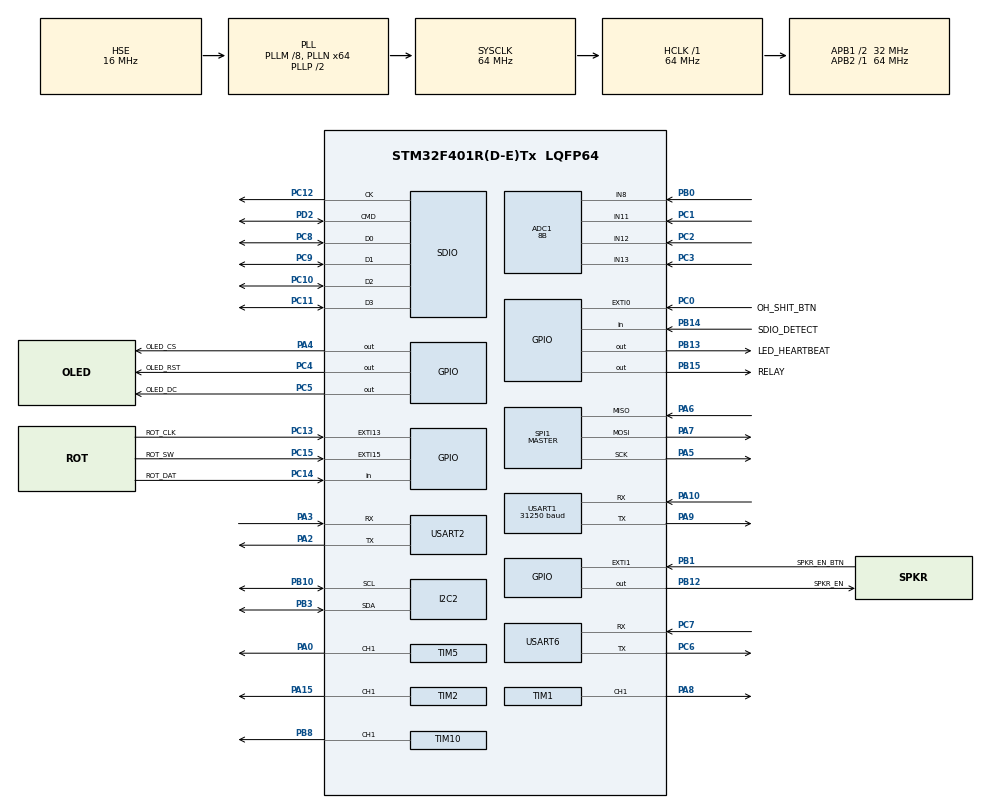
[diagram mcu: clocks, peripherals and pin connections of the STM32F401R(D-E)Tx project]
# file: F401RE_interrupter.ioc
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ADC1.Channel-1\#ChannelRegularConversion=ADC_CHANNEL_8
ADC1.Channel-2\#ChannelRegularConversion=ADC_CHANNEL_11
ADC1.Channel-3\#ChannelRegularConversion=ADC_CHANNEL_12
ADC1.Channel-4\#ChannelRegularConversion=ADC_CHANNEL_13
ADC1.EOCSelection=ADC_EOC_SEQ_CONV
ADC1.NbrOfConversion=4
ADC1.NbrOfConversionFlag=1
ADC1.Rank-1\#ChannelRegularConversion=1
ADC1.Rank-2\#ChannelRegularConversion=2
ADC1.Rank-3\#ChannelRegularConversion=3
ADC1.Rank-4\#ChannelRegularConversion=4
ADC1.Resolution=ADC_RESOLUTION_8B
ADC1.SamplingTime-1\#ChannelRegularConversion=ADC_SAMPLETIME_15CYCLES
ADC1.SamplingTime-2\#ChannelRegularConversion=ADC_SAMPLETIME_15CYCLES
ADC1.SamplingTime-3\#ChannelRegularConversion=ADC_SAMPLETIME_15CYCLES
ADC1.SamplingTime-4\#ChannelRegularConversion=ADC_SAMPLETIME_15CYCLES
ADC1.master=1
Dma.ADC1.0.Direction=DMA_PERIPH_TO_MEMORY
Dma.ADC1.0.FIFOMode=DMA_FIFOMODE_DISABLE
Dma.ADC1.0.Instance=DMA2_Stream0
Dma.ADC1.0.MemDataAlignment=DMA_MDATAALIGN_HALFWORD
Dma.ADC1.0.MemInc=DMA_MINC_ENABLE
Dma.ADC1.0.Mode=DMA_NORMAL
Dma.ADC1.0.PeriphDataAlignment=DMA_PDATAALIGN_HALFWORD
Dma.ADC1.0.PeriphInc=DMA_PINC_DISABLE
Dma.ADC1.0.Priority=DMA_PRIORITY_MEDIUM
Dma.Request0=ADC1
FATFS.BSP.number=1
FATFS0.BSP.STBoard=false
FATFS0.BSP.api=Unknown
FATFS0.BSP.instance=PB14
FATFS0.BSP.ip=GPIO
FATFS0.BSP.mode=Input
FATFS0.BSP.name=Detect_SDIO
FATFS0.BSP.solution=PB14
Mcu.Family=STM32F4
Mcu.Name=STM32F401R(D-E)Tx
Mcu.Package=LQFP64
NVIC.DMA2_Stream0_IRQn=true\:0\:0\:false\:false\:true\:false\:true\:true
NVIC.EXTI0_IRQn=true\:0\:0\:false\:false\:true\:true\:true\:true
NVIC.EXTI15_10_IRQn=true\:0\:0\:false\:false\:true\:true\:true\:true
NVIC.EXTI1_IRQn=true\:0\:0\:false\:false\:true\:true\:true\:true
NVIC.PriorityGroup=NVIC_PRIORITYGROUP_4
NVIC.TIM1_TRG_COM_TIM11_IRQn=true\:0\:0\:false\:false\:true\:true\:true\:true
NVIC.USART1_IRQn=true\:0\:0\:false\:false\:true\:true\:true\:true
PA0-WKUP.Signal=S_TIM5_CH1
PA10.GPIO_PuPd=GPIO_NOPULL
PA10.Mode=Asynchronous
PA10.Signal=USART1_RX
PA13.Mode=Serial_Wire
PA13.Signal=SYS_JTMS-SWDIO
PA14.Mode=Serial_Wire
PA14.Signal=SYS_JTCK-SWCLK
PA15.Signal=S_TIM2_CH1_ETR
PA2.Mode=Asynchronous
PA2.Signal=USART2_TX
PA3.Mode=Asynchronous
PA3.Signal=USART2_RX
PA4.GPIO_Label=OLED_CS
PA4.GPIO_PuPd=GPIO_PULLUP
PA4.Signal=GPIO_Output
PA5.Mode=Full_Duplex_Master
PA5.Signal=SPI1_SCK
PA6.Mode=Full_Duplex_Master
PA6.Signal=SPI1_MISO
PA7.Mode=Full_Duplex_Master
PA7.Signal=SPI1_MOSI
PA8.Signal=S_TIM1_CH1
PA9.Mode=Asynchronous
PA9.Signal=USART1_TX
PB0.Signal=ADCx_IN8
PB1.GPIO_Label=SPKR_EN_BTN
PB1.GPIO_ModeDefaultEXTI=GPIO_MODE_IT_FALLING
PB1.Signal=GPXTI1
PB10.Mode=I2C
PB10.Signal=I2C2_SCL
PB12.GPIO_Label=SPKR_EN
PB12.Signal=GPIO_Output
PB13.GPIO_Label=LED_HEARTBEAT
PB13.Signal=GPIO_Output
PB14.GPIO_Label=SDIO_DETECT
PB14.Signal=GPIO_Input
PB15.GPIO_Label=RELAY
PB15.Signal=GPIO_Output
PB3.Mode=I2C
PB3.Signal=I2C2_SDA
PB8.Signal=S_TIM10_CH1
PC0.GPIO_Label=OH_SHIT_BTN
PC0.GPIO_ModeDefaultEXTI=GPIO_MODE_IT_FALLING
PC0.Signal=GPXTI0
PC1.Signal=ADCx_IN11
PC10.Mode=SD_4_bits_Wide_bus
PC10.Signal=SDIO_D2
PC11.Mode=SD_4_bits_Wide_bus
PC11.Signal=SDIO_D3
PC12.Mode=SD_4_bits_Wide_bus
PC12.Signal=SDIO_CK
PC13-ANTI_TAMP.GPIO_Label=ROT_CLK
PC13-ANTI_TAMP.GPIO_ModeDefaultEXTI=GPIO_MODE_IT_FALLING
PC13-ANTI_TAMP.Signal=GPXTI13
PC14-OSC32_IN.GPIO_Label=ROT_DAT
PC14-OSC32_IN.Signal=GPIO_Input
PC15-OSC32_OUT.GPIO_Label=ROT_SW
PC15-OSC32_OUT.GPIO_ModeDefaultEXTI=GPIO_MODE_IT_FALLING
PC15-OSC32_OUT.Signal=GPXTI15
PC2.Signal=ADCx_IN12
PC3.Signal=ADCx_IN13
PC4.GPIO_Label=OLED_RST
PC4.Signal=GPIO_Output
PC5.GPIO_Label=OLED_DC
PC5.Signal=GPIO_Output
PC6.Mode=Asynchronous
PC6.Signal=USART6_TX
PC7.Mode=Asynchronous
PC7.Signal=USART6_RX
PC8.Mode=SD_4_bits_Wide_bus
PC8.Signal=SDIO_D0
PC9.Mode=SD_4_bits_Wide_bus
PC9.Signal=SDIO_D1
PD2.Mode=SD_4_bits_Wide_bus
PD2.Signal=SDIO_CMD
PH0\ -\ OSC_IN.Mode=HSE-External-Oscillator
PH0\ -\ OSC_IN.Signal=RCC_OSC_IN
PH1\ -\ OSC_OUT.Mode=HSE-External-Oscillator
PH1\ -\ OSC_OUT.Signal=RCC_OSC_OUT
ProjectManager.HeapSize=0x200
ProjectManager.StackSize=0x400
ProjectManager.TargetToolchain=STM32CubeIDE
RCC.48MHZClocksFreq_Value=42666666.666666664
RCC.AHBFreq_Value=64000000
RCC.APB1CLKDivider=RCC_HCLK_DIV2
RCC.APB1Freq_Value=32000000
RCC.APB1TimFreq_Value=64000000
RCC.APB2Freq_Value=64000000
RCC.APB2TimFreq_Value=64000000
RCC.CortexFreq_Value=64000000
RCC.HCLKFreq_Value=64000000
RCC.HSE_VALUE=16000000
RCC.HSI_VALUE=16000000
RCC.LSE_VALUE=32768
RCC.PLLM=8
RCC.PLLN=64
RCC.PLLQ=3
RCC.PLLSourceVirtual=RCC_PLLSOURCE_HSE
RCC.SYSCLKFreq_VALUE=64000000
RCC.SYSCLKSource=RCC_SYSCLKSOURCE_PLLCLK
RCC.VCOOutputFreq_Value=128000000
SH.ADCx_IN11.0=ADC1_IN11,IN11
SH.ADCx_IN12.0=ADC1_IN12,IN12
SH.ADCx_IN13.0=ADC1_IN13,IN13
SH.ADCx_IN8.0=ADC1_IN8,IN8
SH.S_TIM10_CH1.0=TIM10_CH1,PWM Generation1 CH1
SH.S_TIM1_CH1.0=TIM1_CH1,PWM Generation1 CH1
SH.S_TIM2_CH1_ETR.0=TIM2_CH1,PWM Generation1 CH1
SH.S_TIM5_CH1.0=TIM5_CH1,PWM Generation1 CH1
SPI1.Direction=SPI_DIRECTION_2LINES
SPI1.Mode=SPI_MODE_MASTER
SPI1.VirtualType=VM_MASTER
TIM1.AutoReloadPreload=TIM_AUTORELOAD_PRELOAD_ENABLE
TIM1.Channel-PWM\ Generation1\ CH1=TIM_CHANNEL_1
TIM1.Period=100
TIM1.Prescaler=128-1
TIM1.Pulse-PWM\ Generation1\ CH1=0
TIM10.Channel=TIM_CHANNEL_1
TIM10.Period=0
TIM11.AutoReloadPreload=TIM_AUTORELOAD_PRELOAD_ENABLE
TIM11.Channel=TIM_CHANNEL_1
TIM11.Period=1000-1
TIM11.Prescaler=64-1
TIM2.Channel-PWM\ Generation1\ CH1=TIM_CHANNEL_1
TIM2.Period=12
TIM2.Prescaler=64-1
TIM5.Channel-PWM\ Generation1\ CH1=TIM_CHANNEL_1
TIM5.Period=0
TIM9.Channel-Output\ Compare1\ No\ Output=TIM_CHANNEL_1
TIM9.Period=1000-1
TIM9.Prescaler=64000-1
USART1.BaudRate=31250
USART1.VirtualMode=VM_ASYNC
USART2.VirtualMode=VM_ASYNC
USART6.VirtualMode=VM_ASYNC
VP_ADC1_Vbat_Input.Mode=IN-Vbat
VP_FATFS_VS_SDIO.Mode=SDIO
VP_TIM10_VS_ClockSourceINT.Mode=Enable_Timer
VP_TIM11_VS_ClockSourceINT.Mode=Enable_Timer
VP_TIM11_VS_no_output1.Mode=Output Compare1 No Output
VP_TIM1_VS_ClockSourceINT.Mode=Internal
VP_TIM2_VS_ClockSourceINT.Mode=Internal
VP_TIM9_VS_ClockSourceINT.Mode=Internal
VP_TIM9_VS_OPM.Mode=OPM_bit
VP_TIM9_VS_no_output1.Mode=Output Compare1 No Output
board=custom

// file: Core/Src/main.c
/* USER CODE BEGIN Header */
/**
  ******************************************************************************
  * @file           : main.c
  * @brief          : Main program body
  ******************************************************************************
  * @attention
  *
  * Copyright (c) 2024 STMicroelectronics.
  * All rights reserved.
  *
  * This software is licensed under terms that can be found in the LICENSE file
  * in the root directory of this software component.
  * If no LICENSE file comes with this software, it is provided AS-IS.
  *
  ******************************************************************************
  */
/* USER CODE END Header */
#include "main.h"
#include "fatfs.h"

/* USER CODE BEGIN Includes */
#include "I2C_LCD.h"
#include "midi_keyboard_handler.h"
#include "stdio.h"
#include "timers.h"
#include "midi.h"

/* USER CODE END Includes */

ADC_HandleTypeDef hadc1;
DMA_HandleTypeDef hdma_adc1;

I2C_HandleTypeDef hi2c2;

SD_HandleTypeDef hsd;

SPI_HandleTypeDef hspi1;

TIM_HandleTypeDef htim1;
TIM_HandleTypeDef htim2;
TIM_HandleTypeDef htim5;
TIM_HandleTypeDef htim9;
TIM_HandleTypeDef htim10;
TIM_HandleTypeDef htim11;

UART_HandleTypeDef huart1;
UART_HandleTypeDef huart2;
UART_HandleTypeDef huart6;

/* USER CODE BEGIN PV */
FATFS     fs;
FIL       file;
FRESULT   fresult;
FILINFO   fno;
DIR       dir;
LCD       lcd;

uint16_t tx1_pulse_width = 1, prev_tx1_width = 0;
uint16_t tx2_pulse_width = 1, prev_tx2_width = 0;

volatile uint16_t adc_dma_results[4];
const int         adcChannelCount = sizeof(adc_dma_results) / sizeof(adc_dma_results[0]);
volatile uint8_t  adc_conv_complete = 0; //set by callback

/* USER CODE END PV */

void SystemClock_Config(void);
static void MX_GPIO_Init(void);
static void MX_DMA_Init(void);
static void MX_ADC1_Init(void);
static void MX_I2C2_Init(void);
static void MX_SDIO_SD_Init(void);
static void MX_TIM1_Init(void);
static void MX_TIM2_Init(void);
static void MX_USART1_UART_Init(void);
static void MX_USART2_UART_Init(void);
static void MX_USART6_UART_Init(void);
static void MX_SPI1_Init(void);
static void MX_TIM11_Init(void);
static void MX_TIM9_Init(void);
static void MX_TIM5_Init(void);
static void MX_TIM10_Init(void);

/* USER CODE BEGIN 0 */
// void toggle_speaker_en_pin(){
//   HAL_GPIO_TogglePin(SPKR_EN_GPIO_Port, SPKR_EN_Pin);
// }

/* USER CODE END 0 */

int main(void)
{

  /* MCU Configuration--------------------------------------------------------*/

  /* Reset of all peripherals, Initializes the Flash interface and the Systick. */
  HAL_Init();

  /* Configure the system clock */
  SystemClock_Config();

  /* Initialize all configured peripherals */
  MX_GPIO_Init();
  MX_DMA_Init();
  MX_ADC1_Init();
  MX_I2C2_Init();
  MX_SDIO_SD_Init();
  MX_TIM1_Init();
  MX_TIM2_Init();
  MX_USART1_UART_Init();
  MX_USART2_UART_Init();
  MX_USART6_UART_Init();
  MX_FATFS_Init();
  MX_SPI1_Init();
  MX_TIM11_Init();
  MX_TIM9_Init();
  MX_TIM5_Init();
  MX_TIM10_Init();

  /* Infinite loop */
  /* USER CODE BEGIN WHILE */

    /**
     * What we need to worry about for interrupter FW
     * 1.  USB messages from upstream source
     * 2.  Current player mode (Choose mode, SD mode, Fixed, Burst)
     * 3.  LCD status based on mode (Same as interrupter REV1) --> I2C2
     * 4.  PWM Timers (TIM1, TIM2, TIM3, TIM4, TIM5, TIM10)
     *                |-- Coil1 --|-- Coil2 --|-- Coil3 --|
     * 5.  General purpose timers (TIM9, TIM11: Millis)
     * 6.  Rotary encoder SW pin
     * 7.  Rotary encoder CLK interrupt and data pin
     * 8.  ADC for potentiometers and battery voltage
     * 9.  Oh shit button: stop all pwm
     * 10. UART RX from the coils (Coil1: USART2, Coil2: USART6)
     * 11. UART RX from MIDI (USART1)
     * 12. OLED screen (display stats about coils: battery voltage, temp, etc)
     * 13. SD Card I/O
     *
     * Interrupts:
     * 1. Millis timer
     * 2. ADC callback
     * 3. External Int:
     *    ROT_CLK, ROT_SW, OH_SHIT_BTN, SPKR_EN_BTN
     */

  /**
   * What we need to worry about for the display case
   * Main loop: Boot into MODE_SELECT screen. Either MODE_KEYBOARD or MODE_SD. As soon as a mode is selected,
   *            flip the relay and turn the coil on.
   * 	If MODE_KEYBOARD, Display instructions and a timer. Timer starts counting when first note is played.
   * 	If SD mode, choose a song, play it, using piano keys as up/down keys
   *
   * 	After a song is done or live mode timer is done, go back to mode-select screen, display a DEAD_TIME_MIN minute timer and
   * 	a funny message
   *
   * 	If either of the above modes are chosen but nothing is subsequently done after 5 minutes, turn the relay off, go back to
   * 	MODE_SELECT, but with no DEAD_TIME_MIN minute wait
   *
   */

    //Initialize everything:
    // Start the timers
    // Initialize the LCD

  	// Millis counter
    init_timers();
  	HAL_TIM_Base_Start_IT(&MILLIS_TIMER_HANDLE);
    init_menu();
	HAL_Delay(1000);

	keyboard_start_rx_it();

	HAL_GPIO_WritePin(SPKR_EN_GPIO_Port, SPKR_EN_Pin, GPIO_PIN_SET);
	HAL_GPIO_WritePin(RELAY_GPIO_Port, RELAY_Pin, GPIO_PIN_RESET);

	// IF1 is TIM1 Ch1 and TIM2 Ch1
  // IF2 is TIM5 Ch1 and TIM10 Ch1
  setTimerFrequencyPulseWidth(&htim1, 0, 0, 0);
  setTimerFrequencyPulseWidth(&htim2, 0, 0, 0);
  setTimerFrequencyPulseWidth(&htim5, 0, 0, 0);
  setTimerFrequencyPulseWidth(&htim10, 0, 0, 0);
	HAL_TIM_PWM_Start(&htim1, TIM_CHANNEL_1);
	HAL_TIM_PWM_Start(&htim2, TIM_CHANNEL_1);
	HAL_TIM_PWM_Start(&htim5, TIM_CHANNEL_1);
	HAL_TIM_PWM_Start(&htim10, TIM_CHANNEL_1);

	// main loop will receive midi messages and handle them accordingly
	// If in choose mode, interpret midi messages as up/down/enter buttons
	// else actual music

	// 255 = not currently playing
	uint32_t led_start_time = 0;
	uint64_t t_cooldown_start = 0;
	uint64_t t_keyboard_start = 0;
  uint64_t prev_adc_time = 0;

	int64_t cooldown_ms_left = 0;
	int64_t keyboard_ms_left = 0;
	uint16_t cooldown_sec_left = 0;
	uint16_t keyboard_sec_left = 0;
	int64_t prev_cooldown_sec_left = 0;
	int64_t prev_keyboard_sec_left = 0;

	// Boot into cooldown state
	UCState top_state = S_PRE_COOLDOWN;

    while (1){

    	// Check for new midi messages
    	// Any state can access this midi message and interpret it how it wants
    	MidiMsg_t *p_msg = deq_next_midi_msg();
    	if(p_msg != NULL){
    		led_start_time = get_millis();
    		HAL_GPIO_WritePin(LED_HEARTBEAT_GPIO_Port, LED_HEARTBEAT_Pin, GPIO_PIN_SET);
    	}

		switch (top_state){
		case S_PRE_COOLDOWN:
			menu_start_cooldown_msg();
			t_cooldown_start = get_millis();
			top_state = S_COOLDOWN;
			break;
		////////////////////////////////////////////////////////////////////
		case S_COOLDOWN:
			cooldown_ms_left = 1000 - (get_millis() - t_cooldown_start);
			cooldown_sec_left = 1 + cooldown_ms_left / 1000;
			if(cooldown_sec_left != prev_cooldown_sec_left){
				prev_cooldown_sec_left = cooldown_sec_left;
				menu_update_cooldown_msg(cooldown_sec_left);
			}
			if(cooldown_ms_left <= 0){
				top_state = S_CHOOSE_MODE;
			}
			break;
		////////////////////////////////////////////////////////////////////
		case S_CHOOSE_MODE:
			top_state = S_PLAYING_KEYBOARD;
			menu_start_keyboard_msg();
			t_keyboard_start = get_millis();
			break;
		////////////////////////////////////////////////////////////////////
		case S_PLAYING_KEYBOARD:
//			keyboard_ms_left = 30000 - (get_millis() - t_keyboard_start);
//			keyboard_sec_left = 1 + keyboard_ms_left / 1000;
//			if(keyboard_sec_left != prev_keyboard_sec_left){
//				prev_keyboard_sec_left = keyboard_sec_left;
//				menu_update_keyboard_msg(keyboard_sec_left);
//			}

			if(p_msg != NULL){
				MidiMsg_t *next_stored_msg = handle_midi_output_msg(p_msg);
				while(next_stored_msg != NULL){
					next_stored_msg = handle_midi_output_msg(next_stored_msg);
				}
			}
//			if(keyboard_ms_left <= 0){
//				shutoff_all_notes();
//				top_state = S_PRE_COOLDOWN;
//			}
			break;
		////////////////////////////////////////////////////////////////////
		case S_CHOOSE_SD_SONG:
			break;
		////////////////////////////////////////////////////////////////////
		case S_PLAYING_SD_SONG:
			break;
		////////////////////////////////////////////////////////////////////
		default: break;

		} // switch(top_state)

    	// GPIO_PinState val = HAL_GPIO_ReadPin(SPKR_EN_BTN_GPIO_Port, SPKR_EN_BTN_Pin);

      // Turn it off 25 ms after receiving a UART message
    	if((get_millis() - led_start_time) > 25){
    		HAL_GPIO_WritePin(LED_HEARTBEAT_GPIO_Port, LED_HEARTBEAT_Pin, GPIO_PIN_RESET);
    	}

      // Start more ADC conversions
      if((get_millis() - prev_adc_time) > 50){
        prev_adc_time = get_millis();
        HAL_ADC_Stop_DMA(&hadc1);  // Stop the DMA to ensure it resets
        HAL_ADC_Start_DMA(&hadc1, (uint32_t*) adc_dma_results, adcChannelCount);
      }
      if(adc_conv_complete){
    	  adc_conv_complete = 0;

        prev_tx1_width = tx1_pulse_width;
        prev_tx2_width = tx2_pulse_width;
    	  // 0-127
    	  tx1_pulse_width = adc_dma_results[1] >> 1;
    	  tx2_pulse_width = adc_dma_results[1] >> 1;

        if(tx1_pulse_width != prev_tx1_width)menu_print_on_time(tx1_pulse_width);
      }

        // Test if the relay works
//    	static uint64_t relay_time = 0;
//    	if((get_millis() - relay_time) > 1000){
//    		relay_time = get_millis();
//    		HAL_GPIO_TogglePin(RELAY_GPIO_Port, RELAY_Pin);
//    	}

    /* USER CODE END WHILE */

    }
}

void SystemClock_Config(void)
{
  RCC_OscInitTypeDef RCC_OscInitStruct = {0};
  RCC_ClkInitTypeDef RCC_ClkInitStruct = {0};

  /** Configure the main internal regulator output voltage
  */
  __HAL_RCC_PWR_CLK_ENABLE();
  __HAL_PWR_VOLTAGESCALING_CONFIG(PWR_REGULATOR_VOLTAGE_SCALE2);

  /** Initializes the RCC Oscillators according to the specified parameters
  * in the RCC_OscInitTypeDef structure.
  */
  RCC_OscInitStruct.OscillatorType = RCC_OSCILLATORTYPE_HSE;
  RCC_OscInitStruct.HSEState = RCC_HSE_ON;
  RCC_OscInitStruct.PLL.PLLState = RCC_PLL_ON;
  RCC_OscInitStruct.PLL.PLLSource = RCC_PLLSOURCE_HSE;
  RCC_OscInitStruct.PLL.PLLM = 8;
  RCC_OscInitStruct.PLL.PLLN = 64;
  RCC_OscInitStruct.PLL.PLLP = RCC_PLLP_DIV2;
  RCC_OscInitStruct.PLL.PLLQ = 3;
  if (HAL_RCC_OscConfig(&RCC_OscInitStruct) != HAL_OK)
  {
    Error_Handler();
  }

  /** Initializes the CPU, AHB and APB buses clocks
  */
  RCC_ClkInitStruct.ClockType = RCC_CLOCKTYPE_HCLK|RCC_CLOCKTYPE_SYSCLK
                              |RCC_CLOCKTYPE_PCLK1|RCC_CLOCKTYPE_PCLK2;
  RCC_ClkInitStruct.SYSCLKSource = RCC_SYSCLKSOURCE_PLLCLK;
  RCC_ClkInitStruct.AHBCLKDivider = RCC_SYSCLK_DIV1;
  RCC_ClkInitStruct.APB1CLKDivider = RCC_HCLK_DIV2;
  RCC_ClkInitStruct.APB2CLKDivider = RCC_HCLK_DIV1;

  if (HAL_RCC_ClockConfig(&RCC_ClkInitStruct, FLASH_LATENCY_2) != HAL_OK)
  {
    Error_Handler();
  }
}

static void MX_ADC1_Init(void)
{

  ADC_ChannelConfTypeDef sConfig = {0};

  /** Configure the global features of the ADC (Clock, Resolution, Data Alignment and number of conversion)
  */
  hadc1.Instance = ADC1;
  hadc1.Init.ClockPrescaler = ADC_CLOCK_SYNC_PCLK_DIV2;
  hadc1.Init.Resolution = ADC_RESOLUTION_8B;
  hadc1.Init.ScanConvMode = ENABLE;
  hadc1.Init.ContinuousConvMode = DISABLE;
  hadc1.Init.DiscontinuousConvMode = DISABLE;
  hadc1.Init.ExternalTrigConvEdge = ADC_EXTERNALTRIGCONVEDGE_NONE;
  hadc1.Init.ExternalTrigConv = ADC_SOFTWARE_START;
  hadc1.Init.DataAlign = ADC_DATAALIGN_RIGHT;
  hadc1.Init.NbrOfConversion = 4;
  hadc1.Init.DMAContinuousRequests = DISABLE;
  hadc1.Init.EOCSelection = ADC_EOC_SEQ_CONV;
  if (HAL_ADC_Init(&hadc1) != HAL_OK)
  {
    Error_Handler();
  }

  /** Configure for the selected ADC regular channel its corresponding rank in the sequencer and its sample time.
  */
  sConfig.Channel = ADC_CHANNEL_8;
  sConfig.Rank = 1;
  sConfig.SamplingTime = ADC_SAMPLETIME_15CYCLES;
  if (HAL_ADC_ConfigChannel(&hadc1, &sConfig) != HAL_OK)
  {
    Error_Handler();
  }

  /** Configure for the selected ADC regular channel its corresponding rank in the sequencer and its sample time.
  */
  sConfig.Channel = ADC_CHANNEL_11;
  sConfig.Rank = 2;
  if (HAL_ADC_ConfigChannel(&hadc1, &sConfig) != HAL_OK)
  {
    Error_Handler();
  }

  /** Configure for the selected ADC regular channel its corresponding rank in the sequencer and its sample time.
  */
  sConfig.Channel = ADC_CHANNEL_12;
  sConfig.Rank = 3;
  if (HAL_ADC_ConfigChannel(&hadc1, &sConfig) != HAL_OK)
  {
    Error_Handler();
  }

  /** Configure for the selected ADC regular channel its corresponding rank in the sequencer and its sample time.
  */
  sConfig.Channel = ADC_CHANNEL_13;
  sConfig.Rank = 4;
  if (HAL_ADC_ConfigChannel(&hadc1, &sConfig) != HAL_OK)
  {
    Error_Handler();
  }

}

static void MX_I2C2_Init(void)
{

  hi2c2.Instance = I2C2;
  hi2c2.Init.ClockSpeed = 100000;
  hi2c2.Init.DutyCycle = I2C_DUTYCYCLE_2;
  hi2c2.Init.OwnAddress1 = 0;
  hi2c2.Init.AddressingMode = I2C_ADDRESSINGMODE_7BIT;
  hi2c2.Init.DualAddressMode = I2C_DUALADDRESS_DISABLE;
  hi2c2.Init.OwnAddress2 = 0;
  hi2c2.Init.GeneralCallMode = I2C_GENERALCALL_DISABLE;
  hi2c2.Init.NoStretchMode = I2C_NOSTRETCH_DISABLE;
  if (HAL_I2C_Init(&hi2c2) != HAL_OK)
  {
    Error_Handler();
  }

}

static void MX_SDIO_SD_Init(void)
{

  hsd.Instance = SDIO;
  hsd.Init.ClockEdge = SDIO_CLOCK_EDGE_RISING;
  hsd.Init.ClockBypass = SDIO_CLOCK_BYPASS_DISABLE;
  hsd.Init.ClockPowerSave = SDIO_CLOCK_POWER_SAVE_DISABLE;
  hsd.Init.BusWide = SDIO_BUS_WIDE_4B;
  hsd.Init.HardwareFlowControl = SDIO_HARDWARE_FLOW_CONTROL_DISABLE;
  hsd.Init.ClockDiv = 0;

}

static void MX_SPI1_Init(void)
{

  /* SPI1 parameter configuration*/
  hspi1.Instance = SPI1;
  hspi1.Init.Mode = SPI_MODE_MASTER;
  hspi1.Init.Direction = SPI_DIRECTION_2LINES;
  hspi1.Init.DataSize = SPI_DATASIZE_8BIT;
  hspi1.Init.CLKPolarity = SPI_POLARITY_LOW;
  hspi1.Init.CLKPhase = SPI_PHASE_1EDGE;
  hspi1.Init.NSS = SPI_NSS_SOFT;
  hspi1.Init.BaudRatePrescaler = SPI_BAUDRATEPRESCALER_2;
  hspi1.Init.FirstBit = SPI_FIRSTBIT_MSB;
  hspi1.Init.TIMode = SPI_TIMODE_DISABLE;
  hspi1.Init.CRCCalculation = SPI_CRCCALCULATION_DISABLE;
  hspi1.Init.CRCPolynomial = 10;
  if (HAL_SPI_Init(&hspi1) != HAL_OK)
  {
    Error_Handler();
  }

}

static void MX_TIM1_Init(void)
{

  TIM_ClockConfigTypeDef sClockSourceConfig = {0};
  TIM_MasterConfigTypeDef sMasterConfig = {0};
  TIM_OC_InitTypeDef sConfigOC = {0};
  TIM_BreakDeadTimeConfigTypeDef sBreakDeadTimeConfig = {0};

  htim1.Instance = TIM1;
  htim1.Init.Prescaler = 128-1;
  htim1.Init.CounterMode = TIM_COUNTERMODE_UP;
  htim1.Init.Period = 100;
  htim1.Init.ClockDivision = TIM_CLOCKDIVISION_DIV1;
  htim1.Init.RepetitionCounter = 0;
  htim1.Init.AutoReloadPreload = TIM_AUTORELOAD_PRELOAD_ENABLE;
  if (HAL_TIM_Base_Init(&htim1) != HAL_OK)
  {
    Error_Handler();
  }
  sClockSourceConfig.ClockSource = TIM_CLOCKSOURCE_INTERNAL;
  if (HAL_TIM_ConfigClockSource(&htim1, &sClockSourceConfig) != HAL_OK)
  {
    Error_Handler();
  }
  if (HAL_TIM_PWM_Init(&htim1) != HAL_OK)
  {
    Error_Handler();
  }
  sMasterConfig.MasterOutputTrigger = TIM_TRGO_RESET;
  sMasterConfig.MasterSlaveMode = TIM_MASTERSLAVEMODE_DISABLE;
  if (HAL_TIMEx_MasterConfigSynchronization(&htim1, &sMasterConfig) != HAL_OK)
  {
    Error_Handler();
  }
  sConfigOC.OCMode = TIM_OCMODE_PWM1;
  sConfigOC.Pulse = 0;
  sConfigOC.OCPolarity = TIM_OCPOLARITY_HIGH;
  sConfigOC.OCNPolarity = TIM_OCNPOLARITY_HIGH;
  sConfigOC.OCFastMode = TIM_OCFAST_DISABLE;
  sConfigOC.OCIdleState = TIM_OCIDLESTATE_RESET;
  sConfigOC.OCNIdleState = TIM_OCNIDLESTATE_RESET;
  if (HAL_TIM_PWM_ConfigChannel(&htim1, &sConfigOC, TIM_CHANNEL_1) != HAL_OK)
  {
    Error_Handler();
  }
  sBreakDeadTimeConfig.OffStateRunMode = TIM_OSSR_DISABLE;
  sBreakDeadTimeConfig.OffStateIDLEMode = TIM_OSSI_DISABLE;
  sBreakDeadTimeConfig.LockLevel = TIM_LOCKLEVEL_OFF;
  sBreakDeadTimeConfig.DeadTime = 0;
  sBreakDeadTimeConfig.BreakState = TIM_BREAK_DISABLE;
  sBreakDeadTimeConfig.BreakPolarity = TIM_BREAKPOLARITY_HIGH;
  sBreakDeadTimeConfig.AutomaticOutput = TIM_AUTOMATICOUTPUT_DISABLE;
  if (HAL_TIMEx_ConfigBreakDeadTime(&htim1, &sBreakDeadTimeConfig) != HAL_OK)
  {
    Error_Handler();
  }
  HAL_TIM_MspPostInit(&htim1);

}

static void MX_TIM2_Init(void)
{

  TIM_ClockConfigTypeDef sClockSourceConfig = {0};
  TIM_MasterConfigTypeDef sMasterConfig = {0};
  TIM_OC_InitTypeDef sConfigOC = {0};

  htim2.Instance = TIM2;
  htim2.Init.Prescaler = 64-1;
  htim2.Init.CounterMode = TIM_COUNTERMODE_UP;
  htim2.Init.Period = 12;
  htim2.Init.ClockDivision = TIM_CLOCKDIVISION_DIV1;
  htim2.Init.AutoReloadPreload = TIM_AUTORELOAD_PRELOAD_DISABLE;
  if (HAL_TIM_Base_Init(&htim2) != HAL_OK)
  {
    Error_Handler();
  }
  sClockSourceConfig.ClockSource = TIM_CLOCKSOURCE_INTERNAL;
  if (HAL_TIM_ConfigClockSource(&htim2, &sClockSourceConfig) != HAL_OK)
  {
    Error_Handler();
  }
  if (HAL_TIM_PWM_Init(&htim2) != HAL_OK)
  {
    Error_Handler();
  }
  sMasterConfig.MasterOutputTrigger = TIM_TRGO_RESET;
  sMasterConfig.MasterSlaveMode = TIM_MASTERSLAVEMODE_DISABLE;
  if (HAL_TIMEx_MasterConfigSynchronization(&htim2, &sMasterConfig) != HAL_OK)
  {
    Error_Handler();
  }
  sConfigOC.OCMode = TIM_OCMODE_PWM1;
  sConfigOC.Pulse = 0;
  sConfigOC.OCPolarity = TIM_OCPOLARITY_HIGH;
  sConfigOC.OCFastMode = TIM_OCFAST_DISABLE;
  if (HAL_TIM_PWM_ConfigChannel(&htim2, &sConfigOC, TIM_CHANNEL_1) != HAL_OK)
  {
    Error_Handler();
  }
  HAL_TIM_MspPostInit(&htim2);

}

static void MX_TIM5_Init(void)
{

  TIM_MasterConfigTypeDef sMasterConfig = {0};
  TIM_OC_InitTypeDef sConfigOC = {0};

  htim5.Instance = TIM5;
  htim5.Init.Prescaler = 0;
  htim5.Init.CounterMode = TIM_COUNTERMODE_UP;
  htim5.Init.Period = 0;
  htim5.Init.ClockDivision = TIM_CLOCKDIVISION_DIV1;
  htim5.Init.AutoReloadPreload = TIM_AUTORELOAD_PRELOAD_DISABLE;
  if (HAL_TIM_PWM_Init(&htim5) != HAL_OK)
  {
    Error_Handler();
  }
  sMasterConfig.MasterOutputTrigger = TIM_TRGO_RESET;
  sMasterConfig.MasterSlaveMode = TIM_MASTERSLAVEMODE_DISABLE;
  if (HAL_TIMEx_MasterConfigSynchronization(&htim5, &sMasterConfig) != HAL_OK)
  {
    Error_Handler();
  }
  sConfigOC.OCMode = TIM_OCMODE_PWM1;
  sConfigOC.Pulse = 0;
  sConfigOC.OCPolarity = TIM_OCPOLARITY_HIGH;
  sConfigOC.OCFastMode = TIM_OCFAST_DISABLE;
  if (HAL_TIM_PWM_ConfigChannel(&htim5, &sConfigOC, TIM_CHANNEL_1) != HAL_OK)
  {
    Error_Handler();
  }
  HAL_TIM_MspPostInit(&htim5);

}

static void MX_TIM9_Init(void)
{

  TIM_ClockConfigTypeDef sClockSourceConfig = {0};
  TIM_OC_InitTypeDef sConfigOC = {0};

  htim9.Instance = TIM9;
  htim9.Init.Prescaler = 64000-1;
  htim9.Init.CounterMode = TIM_COUNTERMODE_UP;
  htim9.Init.Period = 1000-1;
  htim9.Init.ClockDivision = TIM_CLOCKDIVISION_DIV1;
  htim9.Init.AutoReloadPreload = TIM_AUTORELOAD_PRELOAD_DISABLE;
  if (HAL_TIM_Base_Init(&htim9) != HAL_OK)
  {
    Error_Handler();
  }
  sClockSourceConfig.ClockSource = TIM_CLOCKSOURCE_INTERNAL;
  if (HAL_TIM_ConfigClockSource(&htim9, &sClockSourceConfig) != HAL_OK)
  {
    Error_Handler();
  }
  if (HAL_TIM_OC_Init(&htim9) != HAL_OK)
  {
    Error_Handler();
  }
  if (HAL_TIM_OnePulse_Init(&htim9, TIM_OPMODE_SINGLE) != HAL_OK)
  {
    Error_Handler();
  }
  sConfigOC.OCMode = TIM_OCMODE_TIMING;
  sConfigOC.Pulse = 0;
  sConfigOC.OCPolarity = TIM_OCPOLARITY_HIGH;
  sConfigOC.OCFastMode = TIM_OCFAST_DISABLE;
  if (HAL_TIM_OC_ConfigChannel(&htim9, &sConfigOC, TIM_CHANNEL_1) != HAL_OK)
  {
    Error_Handler();
  }

}

static void MX_TIM10_Init(void)
{

  TIM_OC_InitTypeDef sConfigOC = {0};

  htim10.Instance = TIM10;
  htim10.Init.Prescaler = 0;
  htim10.Init.CounterMode = TIM_COUNTERMODE_UP;
  htim10.Init.Period = 0;
  htim10.Init.ClockDivision = TIM_CLOCKDIVISION_DIV1;
  htim10.Init.AutoReloadPreload = TIM_AUTORELOAD_PRELOAD_DISABLE;
  if (HAL_TIM_Base_Init(&htim10) != HAL_OK)
  {
    Error_Handler();
  }
  if (HAL_TIM_PWM_Init(&htim10) != HAL_OK)
  {
    Error_Handler();
  }
  sConfigOC.OCMode = TIM_OCMODE_PWM1;
  sConfigOC.Pulse = 0;
  sConfigOC.OCPolarity = TIM_OCPOLARITY_HIGH;
  sConfigOC.OCFastMode = TIM_OCFAST_DISABLE;
  if (HAL_TIM_PWM_ConfigChannel(&htim10, &sConfigOC, TIM_CHANNEL_1) != HAL_OK)
  {
    Error_Handler();
  }
  HAL_TIM_MspPostInit(&htim10);

}

static void MX_TIM11_Init(void)
{

  TIM_OC_InitTypeDef sConfigOC = {0};

  htim11.Instance = TIM11;
  htim11.Init.Prescaler = 64-1;
  htim11.Init.CounterMode = TIM_COUNTERMODE_UP;
  htim11.Init.Period = 1000-1;
  htim11.Init.ClockDivision = TIM_CLOCKDIVISION_DIV1;
  htim11.Init.AutoReloadPreload = TIM_AUTORELOAD_PRELOAD_ENABLE;
  if (HAL_TIM_Base_Init(&htim11) != HAL_OK)
  {
    Error_Handler();
  }
  if (HAL_TIM_OC_Init(&htim11) != HAL_OK)
  {
    Error_Handler();
  }
  sConfigOC.OCMode = TIM_OCMODE_TIMING;
  sConfigOC.Pulse = 0;
  sConfigOC.OCPolarity = TIM_OCPOLARITY_HIGH;
  sConfigOC.OCFastMode = TIM_OCFAST_DISABLE;
  if (HAL_TIM_OC_ConfigChannel(&htim11, &sConfigOC, TIM_CHANNEL_1) != HAL_OK)
  {
    Error_Handler();
  }

}

static void MX_USART1_UART_Init(void)
{

  huart1.Instance = USART1;
  huart1.Init.BaudRate = 31250;
  huart1.Init.WordLength = UART_WORDLENGTH_8B;
  huart1.Init.StopBits = UART_STOPBITS_1;
  huart1.Init.Parity = UART_PARITY_NONE;
  huart1.Init.Mode = UART_MODE_TX_RX;
  huart1.Init.HwFlowCtl = UART_HWCONTROL_NONE;
  huart1.Init.OverSampling = UART_OVERSAMPLING_16;
  if (HAL_UART_Init(&huart1) != HAL_OK)
  {
    Error_Handler();
  }

}

static void MX_USART2_UART_Init(void)
{

  huart2.Instance = USART2;
  huart2.Init.BaudRate = 115200;
  huart2.Init.WordLength = UART_WORDLENGTH_8B;
  huart2.Init.StopBits = UART_STOPBITS_1;
  huart2.Init.Parity = UART_PARITY_NONE;
  huart2.Init.Mode = UART_MODE_TX_RX;
  huart2.Init.HwFlowCtl = UART_HWCONTROL_NONE;
  huart2.Init.OverSampling = UART_OVERSAMPLING_16;
  if (HAL_UART_Init(&huart2) != HAL_OK)
  {
    Error_Handler();
  }

}

static void MX_USART6_UART_Init(void)
{

  huart6.Instance = USART6;
  huart6.Init.BaudRate = 115200;
  huart6.Init.WordLength = UART_WORDLENGTH_8B;
  huart6.Init.StopBits = UART_STOPBITS_1;
  huart6.Init.Parity = UART_PARITY_NONE;
  huart6.Init.Mode = UART_MODE_TX_RX;
  huart6.Init.HwFlowCtl = UART_HWCONTROL_NONE;
  huart6.Init.OverSampling = UART_OVERSAMPLING_16;
  if (HAL_UART_Init(&huart6) != HAL_OK)
  {
    Error_Handler();
  }

}

static void MX_DMA_Init(void)
{

  /* DMA controller clock enable */
  __HAL_RCC_DMA2_CLK_ENABLE();

  /* DMA interrupt init */
  /* DMA2_Stream0_IRQn interrupt configuration */
  HAL_NVIC_SetPriority(DMA2_Stream0_IRQn, 0, 0);
  HAL_NVIC_EnableIRQ(DMA2_Stream0_IRQn);

}

static void MX_GPIO_Init(void)
{
  GPIO_InitTypeDef GPIO_InitStruct = {0};

  /* GPIO Ports Clock Enable */
  __HAL_RCC_GPIOC_CLK_ENABLE();
  __HAL_RCC_GPIOH_CLK_ENABLE();
  __HAL_RCC_GPIOA_CLK_ENABLE();
  __HAL_RCC_GPIOB_CLK_ENABLE();
  __HAL_RCC_GPIOD_CLK_ENABLE();

  /*Configure GPIO pin Output Level */
  HAL_GPIO_WritePin(OLED_CS_GPIO_Port, OLED_CS_Pin, GPIO_PIN_RESET);

  /*Configure GPIO pin Output Level */
  HAL_GPIO_WritePin(GPIOC, OLED_RST_Pin|OLED_DC_Pin, GPIO_PIN_RESET);

  /*Configure GPIO pin Output Level */
  HAL_GPIO_WritePin(GPIOB, SPKR_EN_Pin|LED_HEARTBEAT_Pin|RELAY_Pin, GPIO_PIN_RESET);

  /*Configure GPIO pins : ROT_CLK_Pin ROT_SW_Pin OH_SHIT_BTN_Pin */
  GPIO_InitStruct.Pin = ROT_CLK_Pin|ROT_SW_Pin|OH_SHIT_BTN_Pin;
  GPIO_InitStruct.Mode = GPIO_MODE_IT_FALLING;
  GPIO_InitStruct.Pull = GPIO_NOPULL;
  HAL_GPIO_Init(GPIOC, &GPIO_InitStruct);

  /*Configure GPIO pin : ROT_DAT_Pin */
  GPIO_InitStruct.Pin = ROT_DAT_Pin;
  GPIO_InitStruct.Mode = GPIO_MODE_INPUT;
  GPIO_InitStruct.Pull = GPIO_NOPULL;
  HAL_GPIO_Init(ROT_DAT_GPIO_Port, &GPIO_InitStruct);

  /*Configure GPIO pin : OLED_CS_Pin */
  GPIO_InitStruct.Pin = OLED_CS_Pin;
  GPIO_InitStruct.Mode = GPIO_MODE_OUTPUT_PP;
  GPIO_InitStruct.Pull = GPIO_PULLUP;
  GPIO_InitStruct.Speed = GPIO_SPEED_FREQ_LOW;
  HAL_GPIO_Init(OLED_CS_GPIO_Port, &GPIO_InitStruct);

  /*Configure GPIO pins : OLED_RST_Pin OLED_DC_Pin */
  GPIO_InitStruct.Pin = OLED_RST_Pin|OLED_DC_Pin;
  GPIO_InitStruct.Mode = GPIO_MODE_OUTPUT_PP;
  GPIO_InitStruct.Pull = GPIO_NOPULL;
  GPIO_InitStruct.Speed = GPIO_SPEED_FREQ_LOW;
  HAL_GPIO_Init(GPIOC, &GPIO_InitStruct);

  /*Configure GPIO pin : SPKR_EN_BTN_Pin */
  GPIO_InitStruct.Pin = SPKR_EN_BTN_Pin;
  GPIO_InitStruct.Mode = GPIO_MODE_IT_FALLING;
  GPIO_InitStruct.Pull = GPIO_NOPULL;
  HAL_GPIO_Init(SPKR_EN_BTN_GPIO_Port, &GPIO_InitStruct);

  /*Configure GPIO pins : SPKR_EN_Pin LED_HEARTBEAT_Pin RELAY_Pin */
  GPIO_InitStruct.Pin = SPKR_EN_Pin|LED_HEARTBEAT_Pin|RELAY_Pin;
  GPIO_InitStruct.Mode = GPIO_MODE_OUTPUT_PP;
  GPIO_InitStruct.Pull = GPIO_NOPULL;
  GPIO_InitStruct.Speed = GPIO_SPEED_FREQ_LOW;
  HAL_GPIO_Init(GPIOB, &GPIO_InitStruct);

  /*Configure GPIO pin : SDIO_DETECT_Pin */
  GPIO_InitStruct.Pin = SDIO_DETECT_Pin;
  GPIO_InitStruct.Mode = GPIO_MODE_INPUT;
  GPIO_InitStruct.Pull = GPIO_NOPULL;
  HAL_GPIO_Init(SDIO_DETECT_GPIO_Port, &GPIO_InitStruct);

  /* EXTI interrupt init*/
  HAL_NVIC_SetPriority(EXTI0_IRQn, 0, 0);
  HAL_NVIC_EnableIRQ(EXTI0_IRQn);

  HAL_NVIC_SetPriority(EXTI1_IRQn, 0, 0);
  HAL_NVIC_EnableIRQ(EXTI1_IRQn);

  HAL_NVIC_SetPriority(EXTI15_10_IRQn, 0, 0);
  HAL_NVIC_EnableIRQ(EXTI15_10_IRQn);

}

/* USER CODE BEGIN 4 */

// Needs to be defined in main because (eventually) there will be other UARTs in use
void HAL_UART_RxCpltCallback(UART_HandleTypeDef *huart){
	if(huart == &KEYBOARD_UART_HANDLE) {
		handle_keyboard_rx_it();
        keyboard_start_rx_it();
    }
}

void HAL_ADC_ConvCpltCallback(ADC_HandleTypeDef *hadc) {
	adc_conv_complete = 1;
}

/**
 * @brief  EXTI line detection callbacks.
 * @param  GPIO_Pin Specifies the port pin connected to corresponding EXTI line.
 * @retval None
 */
void HAL_GPIO_EXTI_Callback(uint16_t GPIO_Pin) {
	switch(GPIO_Pin){
        case ROT_CLK_Pin:     break;

        case ROT_SW_Pin:      break;

        case OH_SHIT_BTN_Pin: break;

        case SPKR_EN_BTN_Pin: break;

        default: break;
    }
}

/**
 * @brief ISR for timer interrupts
 * @param htim TIM_HandleTypeDef
 * @return None
 */
void HAL_TIM_PeriodElapsedCallback(TIM_HandleTypeDef *htim) {

    //Millis
	if (htim == &MILLIS_TIMER_HANDLE) {
		inc_millis();
	}

}

/* USER CODE END 4 */

void Error_Handler(void)
{
  __disable_irq();
  while (1)
  {
  }
}
